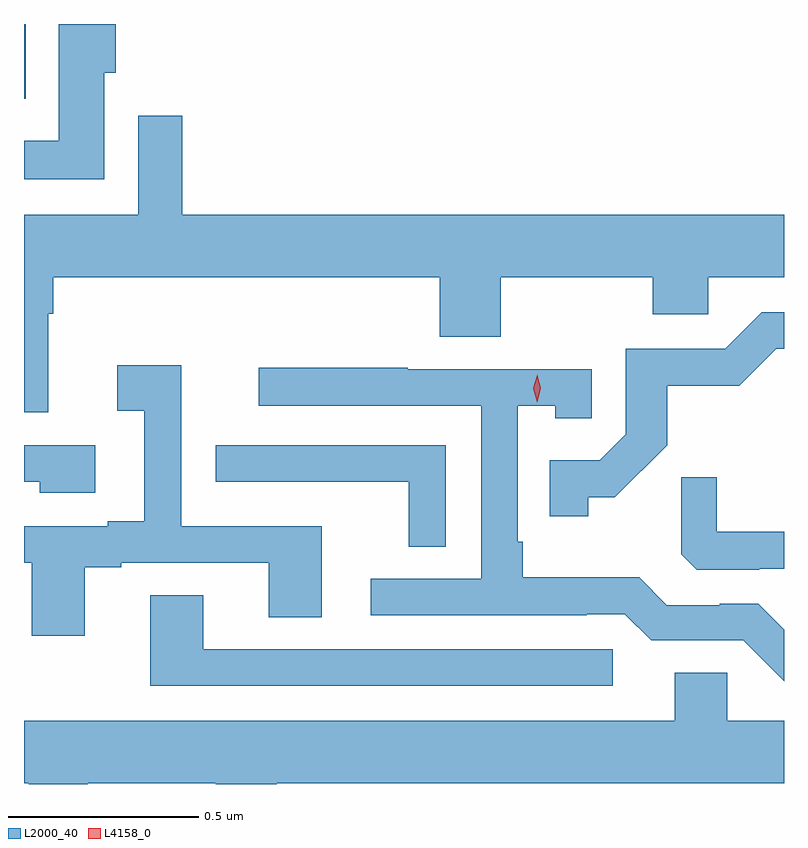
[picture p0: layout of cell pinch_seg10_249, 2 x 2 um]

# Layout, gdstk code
import gdstk
lib = gdstk.Library(unit=1e-6, precision=1e-09)
def R(c, l, rs):  # rectangles x0, y0, x1, y1
    for r in rs: c.add(gdstk.rectangle(r[:2], r[2:], *l))
def P(c, l, *ps):  # polygons
    for p in ps: c.add(gdstk.Polygon(p, *l))
L2000_40 = (2000, 40)
L4158_0 = (4158, 0)

pinch_seg10_249 = lib.new_cell('pinch_seg10_249')
R(pinch_seg10_249, L2000_40, [(613.035,1323.429,613.039,1323.626)])
P(pinch_seg10_249, L2000_40, [(613.246,1323.498),(613.277,1323.498),(613.277,1323.626),(613.127,1323.626),(613.127,1323.319),(613.035,1323.319),(613.035,1323.218),(613.246,1323.218)],
  [(613.099,1322.864),(613.112,1322.864),(613.112,1322.96),(614.129,1322.96),(614.129,1322.803),(614.289,1322.803),(614.289,1322.96),(614.689,1322.96),(614.689,1322.862),(614.835,1322.862),(614.835,1322.96),(615.035,1322.96),(615.035,1323.124),(613.451,1323.124),(613.451,1323.385),(613.335,1323.385),(613.335,1323.124),(613.035,1323.124),(613.035,1322.604),(613.099,1322.604)],
  [(614.52,1322.381),(614.59,1322.381),(614.728,1322.518),(614.728,1322.674),(614.917,1322.674),(615.015,1322.772),(615.035,1322.772),(615.035,1322.868),(614.976,1322.868),(614.88,1322.772),(614.619,1322.772),(614.619,1322.547),(614.55,1322.478),(614.419,1322.478),(614.419,1322.331),(614.52,1322.331)],
  [(613.195,1322.196),(613.291,1322.196),(613.291,1322.208),(613.679,1322.208),(613.679,1322.065),(613.819,1322.065),(613.819,1322.304),(613.449,1322.304),(613.449,1322.728),(613.281,1322.728),(613.281,1322.608),(613.352,1322.608),(613.352,1322.317),(613.256,1322.317),(613.256,1322.304),(613.035,1322.304),(613.035,1322.208),(613.055,1322.208),(613.055,1322.016),(613.195,1322.016)],
  [(615.035,1322.032),(614.967,1322.1),(614.866,1322.1),(614.866,1322.097),(614.727,1322.097),(614.654,1322.17),(614.347,1322.17),(614.347,1322.263),(614.334,1322.263),(614.334,1322.621),(614.433,1322.621),(614.433,1322.589),(614.529,1322.589),(614.529,1322.718),(614.045,1322.718),(614.045,1322.721),(613.653,1322.721),(613.653,1322.622),(614.238,1322.622),(614.238,1322.166),(613.947,1322.166),(613.947,1322.07),(614.516,1322.07),(614.516,1322.073),(614.616,1322.073),(614.685,1322.004),(614.928,1322.004),(615.035,1321.897)],
  [(613.222,1322.517),(613.035,1322.517),(613.035,1322.421),(613.077,1322.421),(613.077,1322.393),(613.222,1322.393)],
  [(614.145,1322.517),(613.539,1322.517),(613.539,1322.422),(613.651,1322.422),(613.651,1322.421),(614.047,1322.421),(614.047,1322.251),(614.145,1322.251)],
  [(614.97,1322.193),(615.035,1322.193),(615.035,1322.29),(614.858,1322.29),(614.858,1322.433),(614.764,1322.433),(614.764,1322.231),(614.805,1322.19),(614.97,1322.19)],
  [(614.584,1321.98),(613.507,1321.98),(613.507,1322.123),(613.367,1322.123),(613.367,1321.884),(614.584,1321.884)],
  [(613.203,1321.628),(613.54,1321.628),(613.54,1321.626),(613.7,1321.626),(613.7,1321.628),(615.035,1321.628),(615.035,1321.792),(614.886,1321.792),(614.886,1321.919),(614.747,1321.919),(614.747,1321.792),(613.035,1321.792),(613.035,1321.628),(613.048,1321.628),(613.048,1321.626),(613.203,1321.626)])
P(pinch_seg10_249, L4158_0, [(614.385,1322.631),(614.385,1322.631),(614.375,1322.667),(614.385,1322.702),(614.385,1322.703),(614.386,1322.702),(614.395,1322.667),(614.386,1322.631)])

lib.write_gds('pinch_seg10_249.gds')
